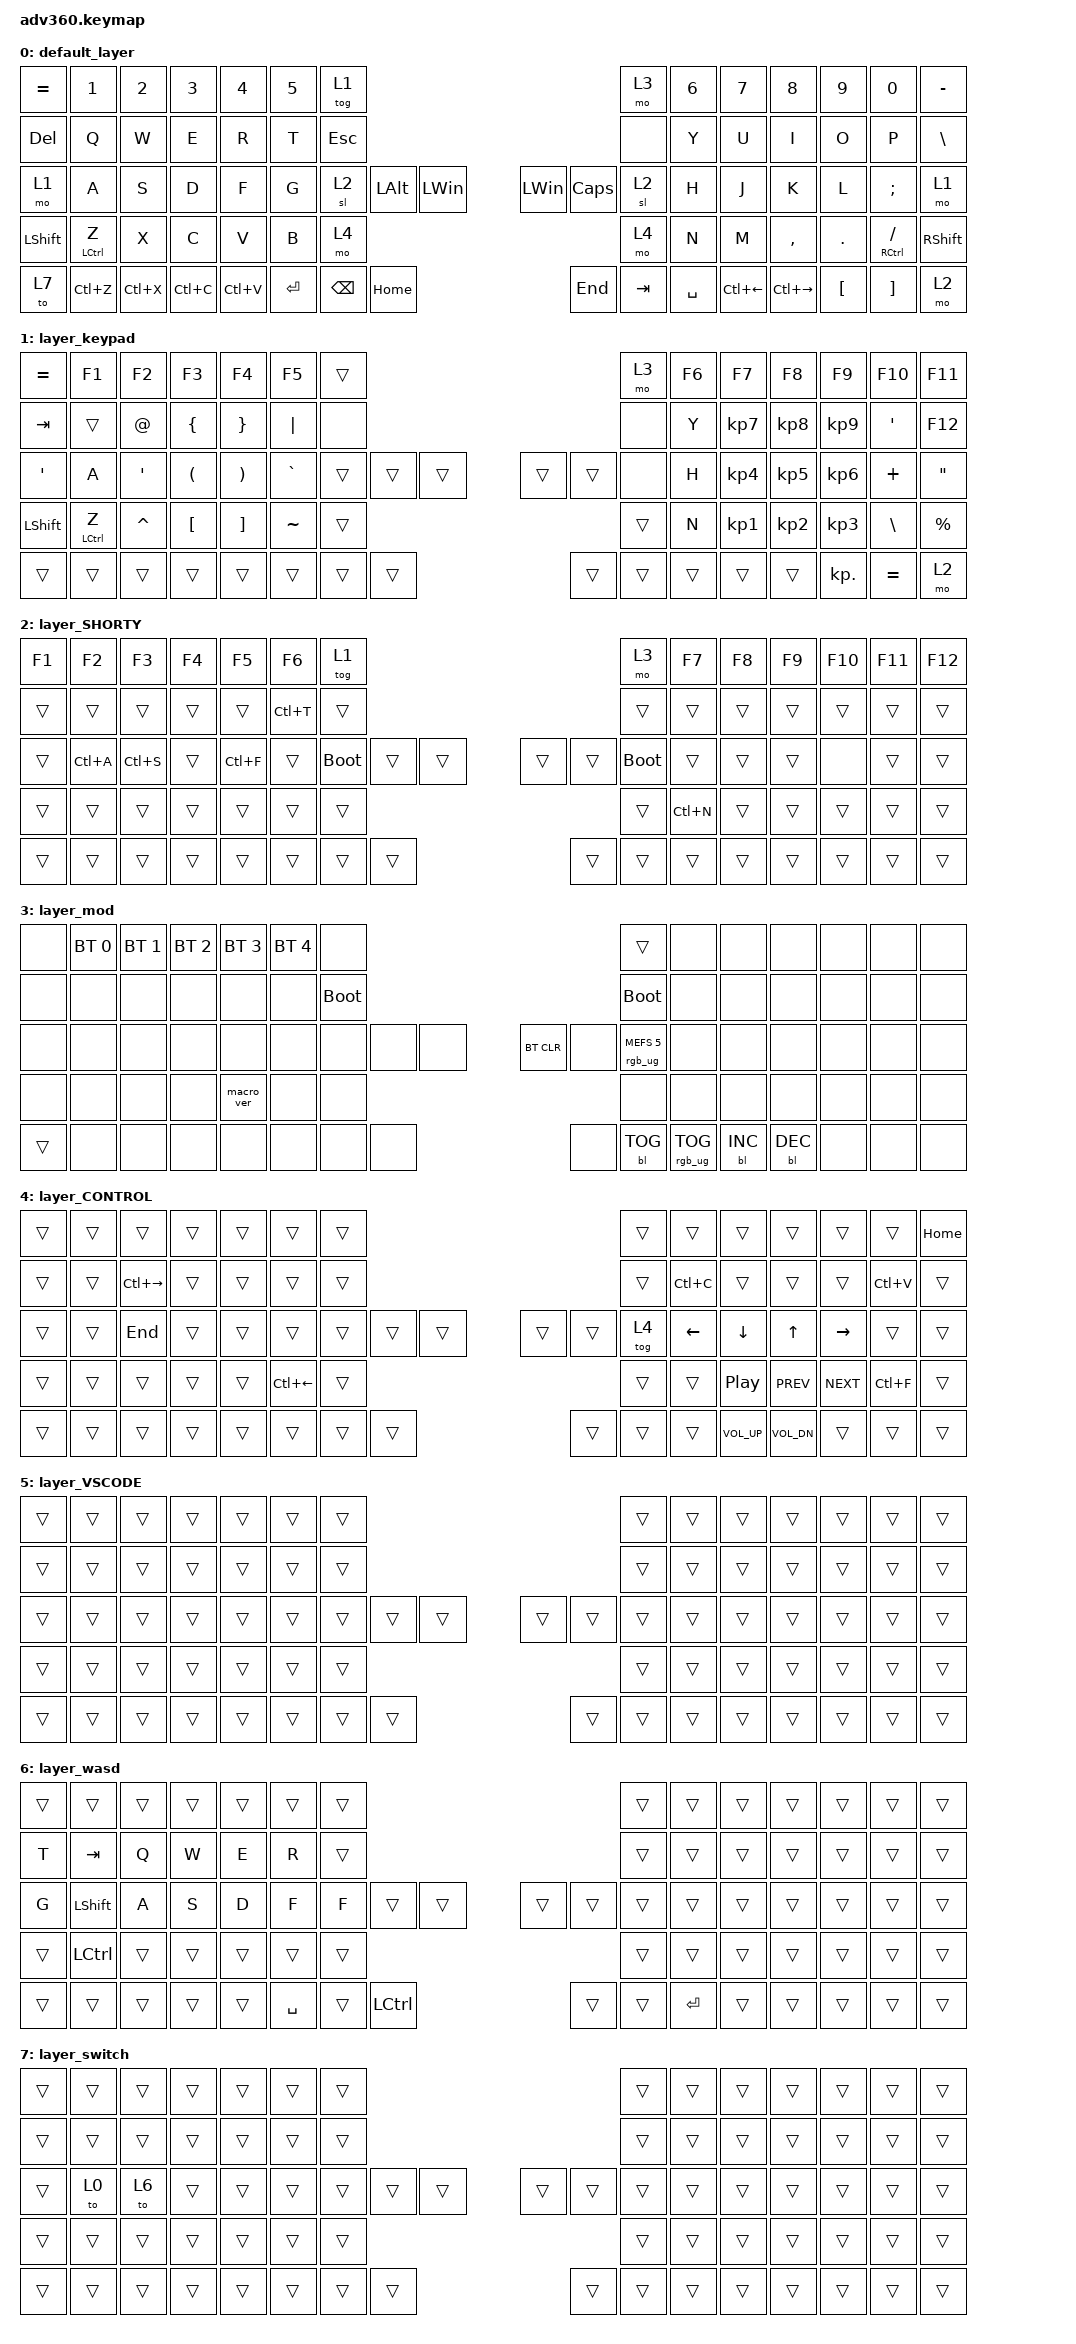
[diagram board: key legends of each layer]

/*
 * Copyright (c) 2020 The ZMK Contributors
 *
 * SPDX-License-Identifier: MIT
 */


/* THIS FILE WAS GENERATED!
 *
 * This file was generated automatically. You may or may not want to
 * edit it directly.
 */

#include <behaviors.dtsi>
#include <dt-bindings/zmk/keys.h>
#include <dt-bindings/zmk/bt.h>
#include <dt-bindings/zmk/rgb.h>
#include <dt-bindings/zmk/backlight.h>

/ {
  behaviors {
    #include "macros.dtsi"
    #include "version.dtsi"

    hm: homerow_mods {
        compatible = "zmk,behavior-hold-tap";
        label = "HOMEROW_MODS";
        #binding-cells = <2>;
        tapping-term-ms = <200>;
        quick_tap_ms = <175>;
        flavor = "tap-preferred";
        bindings = <&kp>, <&kp>;
    };
  };

    keymap {
        compatible = "zmk,keymap";


        default_layer {
            bindings = <
  &kp EQUAL              &kp N1     &kp N2     &kp N3     &kp N4  &kp N5               &tog 1                                                                               &mo 3  &kp N6        &kp N7         &kp N8    &kp N9                  &kp N0  &kp MINUS
 &kp DELETE               &kp Q      &kp W      &kp E      &kp R   &kp T              &kp ESC                                                                               &none   &kp Y         &kp U          &kp I     &kp O                   &kp P   &kp BSLH
      &mo 1               &kp A      &kp S      &kp D      &kp F   &kp G                &sl 2   &kp LEFT_ALT  &kp LEFT_WIN                  &kp LEFT_WIN  &kp CAPSLOCK      &sl 2   &kp H         &kp J          &kp K     &kp L                &kp SEMI      &mo 1
  &kp LSHFT  &mt LEFT_CONTROL Z      &kp X      &kp C      &kp V   &kp B                                             &mo 4                         &mo 4                            &kp N         &kp M      &kp COMMA   &kp DOT  &mt RIGHT_CONTROL FSLH  &kp RSHFT
      &to 7           &kp LC(Z)  &kp LC(X)  &kp LC(C)  &kp LC(V)                    &kp ENTER  &kp BACKSPACE      &kp HOME                       &kp END       &kp TAB  &kp SPACE          &kp LC(LEFT)  &kp LC(RIGHT)  &kp LBKT                &kp RBKT      &mo 2
            >;
        };

        layer_keypad {
            bindings = <
 &kp EQUAL              &kp F1     &kp F2                &kp F3                 &kp F4     &kp F5            &trans                                                   &mo 3  &kp F6     &kp F7     &kp F8      &kp F9    &kp F10            &kp F11
   &kp TAB              &trans     &kp AT        &kp LEFT_BRACE        &kp RIGHT_BRACE   &kp PIPE             &none                                                   &none   &kp Y  &kp KP_N7  &kp KP_N8   &kp KP_N9    &kp SQT            &kp F12
   &kp SQT               &kp A    &kp SQT  &kp LEFT_PARENTHESIS  &kp RIGHT_PARENTHESIS  &kp GRAVE            &trans  &trans  &trans                  &trans  &trans   &none   &kp H  &kp KP_N4  &kp KP_N5   &kp KP_N6   &kp PLUS  &kp DOUBLE_QUOTES
 &kp LSHFT  &mt LEFT_CONTROL Z  &kp CARET      &kp LEFT_BRACKET      &kp RIGHT_BRACKET  &kp TILDE                            &trans                  &trans                   &kp N  &kp KP_N1  &kp KP_N2   &kp KP_N3   &kp BSLH        &kp PERCENT
    &trans              &trans     &trans                &trans                 &trans                       &trans  &trans  &trans                  &trans  &trans  &trans             &trans     &trans  &kp KP_DOT  &kp EQUAL              &mo 2
            >;
        };

        layer_SHORTY {
            bindings = <
 &kp F1     &kp F2     &kp F3  &kp F4     &kp F5     &kp F6                 &tog 1                                                        &mo 3     &kp F7  &kp F8  &kp F9  &kp F10  &kp F11  &kp F12
 &trans     &trans     &trans  &trans     &trans  &kp LC(T)                 &trans                                                       &trans     &trans  &trans  &trans   &trans   &trans   &trans
 &trans  &kp LC(A)  &kp LC(S)  &trans  &kp LC(F)     &trans            &bootloader  &trans  &trans                  &trans  &trans  &bootloader     &trans  &trans  &trans    &none   &trans   &trans
 &trans     &trans     &trans  &trans     &trans     &trans                                 &trans                  &trans                       &kp LC(N)  &trans  &trans   &trans   &trans   &trans
 &trans     &trans     &trans  &trans     &trans                            &trans  &trans  &trans                  &trans  &trans       &trans             &trans  &trans   &trans   &trans   &trans
            >;
        };

        layer_mod {
            bindings = <
  &none  &bt BT_SEL 0  &bt BT_SEL 1  &bt BT_SEL 2  &bt BT_SEL 3  &bt BT_SEL 4                  &none                                                                          &trans   &none       &none       &none   &none   &none   &none
  &none         &none         &none         &none         &none         &none            &bootloader                                                                     &bootloader   &none       &none       &none   &none   &none   &none
  &none         &none         &none         &none         &none         &none                  &none   &none   &none                  &bt BT_CLR       &none  &rgb_ug RGB_MEFS_CMD 5   &none       &none       &none   &none   &none   &none
  &none         &none         &none         &none    &macro_ver         &none                                  &none                       &none                                       &none       &none       &none   &none   &none   &none
 &trans         &none         &none         &none         &none                                &none   &none   &none                       &none  &bl BL_TOG         &rgb_ug RGB_TOG          &bl BL_INC  &bl BL_DEC   &none   &none   &none
            >;
        };

        layer_CONTROL {
            bindings = <
 &trans  &trans         &trans  &trans  &trans        &trans            &trans                                                  &trans     &trans            &trans        &trans      &trans     &trans  &kp HOME
 &trans  &trans  &kp LC(RIGHT)  &trans  &trans        &trans            &trans                                                  &trans  &kp LC(C)            &trans        &trans      &trans  &kp LC(V)    &trans
 &trans  &trans        &kp END  &trans  &trans        &trans            &trans  &trans  &trans                  &trans  &trans  &tog 4   &kp LEFT          &kp DOWN        &kp UP   &kp RIGHT     &trans    &trans
 &trans  &trans         &trans  &trans  &trans  &kp LC(LEFT)                            &trans                  &trans                     &trans  &kp C_PLAY_PAUSE    &kp C_PREV  &kp C_NEXT  &kp LC(F)    &trans
 &trans  &trans         &trans  &trans  &trans                          &trans  &trans  &trans                  &trans  &trans  &trans                 &kp C_VOL_UP  &kp C_VOL_DN      &trans     &trans    &trans
            >;
        };

        layer_VSCODE {
            bindings = <
 &trans  &trans  &trans  &trans  &trans  &trans            &trans                                                  &trans  &trans  &trans  &trans  &trans  &trans  &trans
 &trans  &trans  &trans  &trans  &trans  &trans            &trans                                                  &trans  &trans  &trans  &trans  &trans  &trans  &trans
 &trans  &trans  &trans  &trans  &trans  &trans            &trans  &trans  &trans                  &trans  &trans  &trans  &trans  &trans  &trans  &trans  &trans  &trans
 &trans  &trans  &trans  &trans  &trans  &trans                            &trans                  &trans                  &trans  &trans  &trans  &trans  &trans  &trans
 &trans  &trans  &trans  &trans  &trans                    &trans  &trans  &trans                  &trans  &trans  &trans          &trans  &trans  &trans  &trans  &trans
            >;
        };

        layer_wasd {
            bindings = <
 &trans            &trans  &trans  &trans  &trans  &trans               &trans                                                               &trans  &trans  &trans  &trans  &trans  &trans  &trans
  &kp T           &kp TAB   &kp Q   &kp W   &kp E   &kp R               &trans                                                               &trans  &trans  &trans  &trans  &trans  &trans  &trans
  &kp G    &kp LEFT_SHIFT   &kp A   &kp S   &kp D   &kp F                &kp F  &trans            &trans                  &trans  &trans     &trans  &trans  &trans  &trans  &trans  &trans  &trans
 &trans  &kp LEFT_CONTROL  &trans  &trans  &trans  &trans                                         &trans                  &trans                     &trans  &trans  &trans  &trans  &trans  &trans
 &trans            &trans  &trans  &trans  &trans                    &kp SPACE  &trans  &kp LEFT_CONTROL                  &trans  &trans  &kp ENTER          &trans  &trans  &trans  &trans  &trans
            >;
        };

        layer_switch {
            bindings = <
 &trans  &trans  &trans  &trans  &trans  &trans            &trans                                                  &trans  &trans  &trans  &trans  &trans  &trans  &trans
 &trans  &trans  &trans  &trans  &trans  &trans            &trans                                                  &trans  &trans  &trans  &trans  &trans  &trans  &trans
 &trans   &to 0   &to 6  &trans  &trans  &trans            &trans  &trans  &trans                  &trans  &trans  &trans  &trans  &trans  &trans  &trans  &trans  &trans
 &trans  &trans  &trans  &trans  &trans  &trans                            &trans                  &trans                  &trans  &trans  &trans  &trans  &trans  &trans
 &trans  &trans  &trans  &trans  &trans                    &trans  &trans  &trans                  &trans  &trans  &trans          &trans  &trans  &trans  &trans  &trans
            >;
        };

    };
};
